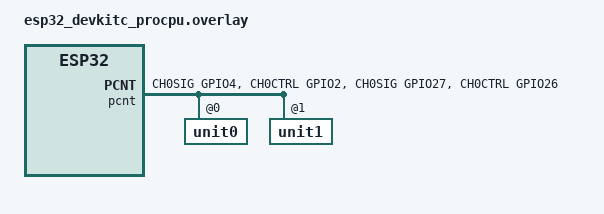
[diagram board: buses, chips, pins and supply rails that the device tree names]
/*
 * SPDX-License-Identifier: Apache-2.0
 *
 * Copyright (c) 2026 Espressif Systems (Shanghai) Co., Ltd.
 */

/ {
	aliases {
		qdec0 = &pcnt;
	};
};

&pinctrl {
	pcnt_default: pcnt_default {
		group1 {
			pinmux = <PCNT0_CH0SIG_GPIO4>,
				 <PCNT0_CH0CTRL_GPIO2>,
				 <PCNT1_CH0SIG_GPIO27>,
				 <PCNT1_CH0CTRL_GPIO26>;
			bias-pull-up;
		};
	};
};

&pcnt {
	pinctrl-0 = <&pcnt_default>;
	pinctrl-names = "default";
	status = "okay";
	#address-cells = <1>;
	#size-cells = <0>;

	unit0@0 {
		reg = <0>;
		#address-cells = <1>;
		#size-cells = <0>;
		filter = <100>;
		counts-per-revolution = <400>;

		channelA@0 {
			reg = <0>;
			sig-pos-mode = <1>;
			sig-neg-mode = <0>;
			ctrl-h-mode = <0>;
			ctrl-l-mode = <0>;
		};
	};

	unit1@1 {
		reg = <1>;
		#address-cells = <1>;
		#size-cells = <0>;
		filter = <100>;
		counts-per-revolution = <400>;

		channelA@0 {
			reg = <0>;
			sig-pos-mode = <1>;
			sig-neg-mode = <0>;
			ctrl-h-mode = <0>;
			ctrl-l-mode = <0>;
		};
	};
};
